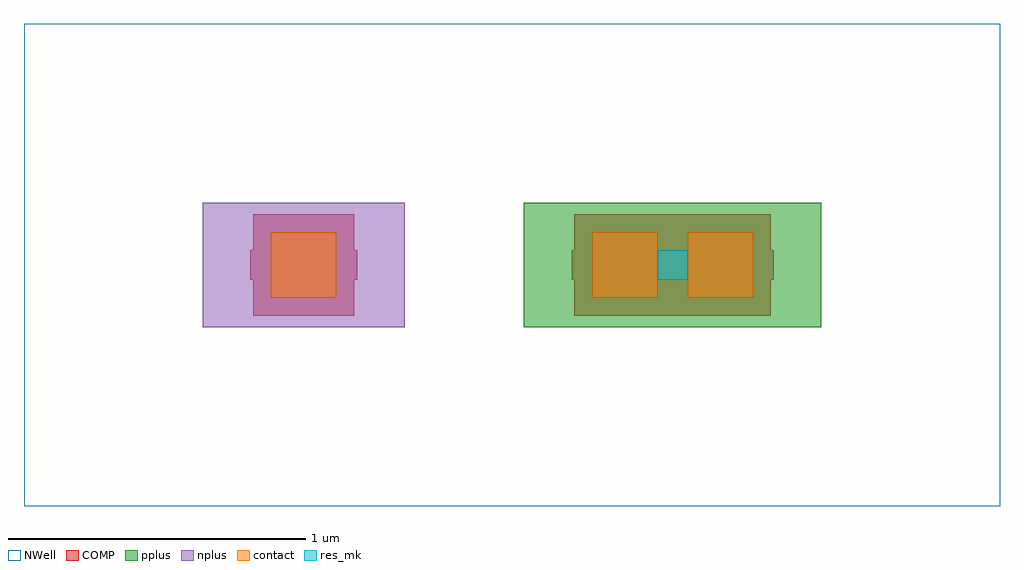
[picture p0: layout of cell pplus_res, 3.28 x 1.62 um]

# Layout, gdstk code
import gdstk
lib = gdstk.Library(unit=1e-6, precision=1e-09)
def R(c, l, rs):  # rectangles x0, y0, x1, y1
    for r in rs: c.add(gdstk.rectangle(r[:2], r[2:], *l))
NWell = (21, 0)
COMP = (22, 0)
pplus = (31, 0)
nplus = (32, 0)
contact = (33, 0)
res_mk = (110, 5)

compass_43289b1a = lib.new_cell('compass_43289b1a')
R(compass_43289b1a, res_mk, [(-0.05,-0.05,0.05,0.05)])

rectangle_43289b1a = lib.new_cell('rectangle_43289b1a')
rectangle_43289b1a.add(gdstk.Reference(compass_43289b1a, (0.05,0.05)))

compass_4f43b44d = lib.new_cell('compass_4f43b44d')
R(compass_4f43b44d, COMP, [(-0.34,-0.05,0.34,0.05)])

rectangle_4f43b44d = lib.new_cell('rectangle_4f43b44d')
rectangle_4f43b44d.add(gdstk.Reference(compass_4f43b44d, (0.34,0.05)))

compass_f38dc993 = lib.new_cell('compass_f38dc993')
R(compass_f38dc993, contact, [(-0.11,-0.11,0.11,0.11)])

rectangle_f38dc993 = lib.new_cell('rectangle_f38dc993')
rectangle_f38dc993.add(gdstk.Reference(compass_f38dc993, (0.11,0.11)))

via_generator_9abf2eb8 = lib.new_cell('via_generator_9abf2eb8')
r = gdstk.Reference(rectangle_f38dc993, (-0.22,-0.06)); r.repetition = gdstk.Repetition(1, 1, v1=(0.5,0), v2=(0,0.5)); via_generator_9abf2eb8.add(r)

compass_9deecdff = lib.new_cell('compass_9deecdff')
R(compass_9deecdff, COMP, [(-0.17,-0.17,0.17,0.17)])

rectangle_9deecdff = lib.new_cell('rectangle_9deecdff')
rectangle_9deecdff.add(gdstk.Reference(compass_9deecdff, (0.17,0.17)))

via_stack_c47a4d99 = lib.new_cell('via_stack_c47a4d99')
via_stack_c47a4d99.add(gdstk.Reference(via_generator_9abf2eb8, (0,0)))
via_stack_c47a4d99.add(gdstk.Reference(rectangle_9deecdff, (-0.28,-0.12)))

compass_550d9851 = lib.new_cell('compass_550d9851')
R(compass_550d9851, pplus, [(-0.5,-0.21,0.5,0.21)])

rectangle_550d9851 = lib.new_cell('rectangle_550d9851')
rectangle_550d9851.add(gdstk.Reference(compass_550d9851, (0.5,0.21)))

compass_9d2fae97 = lib.new_cell('compass_9d2fae97')
R(compass_9d2fae97, COMP, [(-0.18,-0.05,0.18,0.05)])

rectangle_9d2fae97 = lib.new_cell('rectangle_9d2fae97')
rectangle_9d2fae97.add(gdstk.Reference(compass_9d2fae97, (0.18,0.05)))

via_generator_cda28e9a = lib.new_cell('via_generator_cda28e9a')
r = gdstk.Reference(rectangle_f38dc993, (-1.3,-0.06)); r.repetition = gdstk.Repetition(1, 1, v1=(0.5,0), v2=(0,0.5)); via_generator_cda28e9a.add(r)

via_stack_c2b3091e = lib.new_cell('via_stack_c2b3091e')
via_stack_c2b3091e.add(gdstk.Reference(via_generator_cda28e9a, (0,0)))
via_stack_c2b3091e.add(gdstk.Reference(rectangle_9deecdff, (-1.36,-0.12)))

compass_929d3245 = lib.new_cell('compass_929d3245')
R(compass_929d3245, nplus, [(-0.34,-0.21,0.34,0.21)])

rectangle_929d3245 = lib.new_cell('rectangle_929d3245')
rectangle_929d3245.add(gdstk.Reference(compass_929d3245, (0.34,0.21)))

plus_res_inst_8eec5775 = lib.new_cell('plus_res_inst_8eec5775')
plus_res_inst_8eec5775.add(gdstk.Reference(rectangle_43289b1a, (0,0)))
plus_res_inst_8eec5775.add(gdstk.Reference(rectangle_4f43b44d, (-0.29,0)))
r = gdstk.Reference(via_stack_c47a4d99, (0,0)); r.repetition = gdstk.Repetition(2, 1, v1=(0.32,0), v2=(0,1)); plus_res_inst_8eec5775.add(r)
plus_res_inst_8eec5775.add(gdstk.Reference(rectangle_550d9851, (-0.45,-0.16)))
plus_res_inst_8eec5775.add(gdstk.Reference(rectangle_9d2fae97, (-1.37,0)))
plus_res_inst_8eec5775.add(gdstk.Reference(via_stack_c2b3091e, (0,0)))
plus_res_inst_8eec5775.add(gdstk.Reference(rectangle_929d3245, (-1.53,-0.16)))

compass_d341ed24 = lib.new_cell('compass_d341ed24')
R(compass_d341ed24, NWell, [(-1.64,-0.81,1.64,0.81)])

rectangle_d341ed24 = lib.new_cell('rectangle_d341ed24')
rectangle_d341ed24.add(gdstk.Reference(compass_d341ed24, (1.64,0.81)))

pplus_res = lib.new_cell('pplus_res')
pplus_res.add(gdstk.Reference(plus_res_inst_8eec5775, (0,0)))
pplus_res.add(gdstk.Reference(rectangle_d341ed24, (-2.13,-0.76)))

lib.write_gds('pplus_res.gds')
